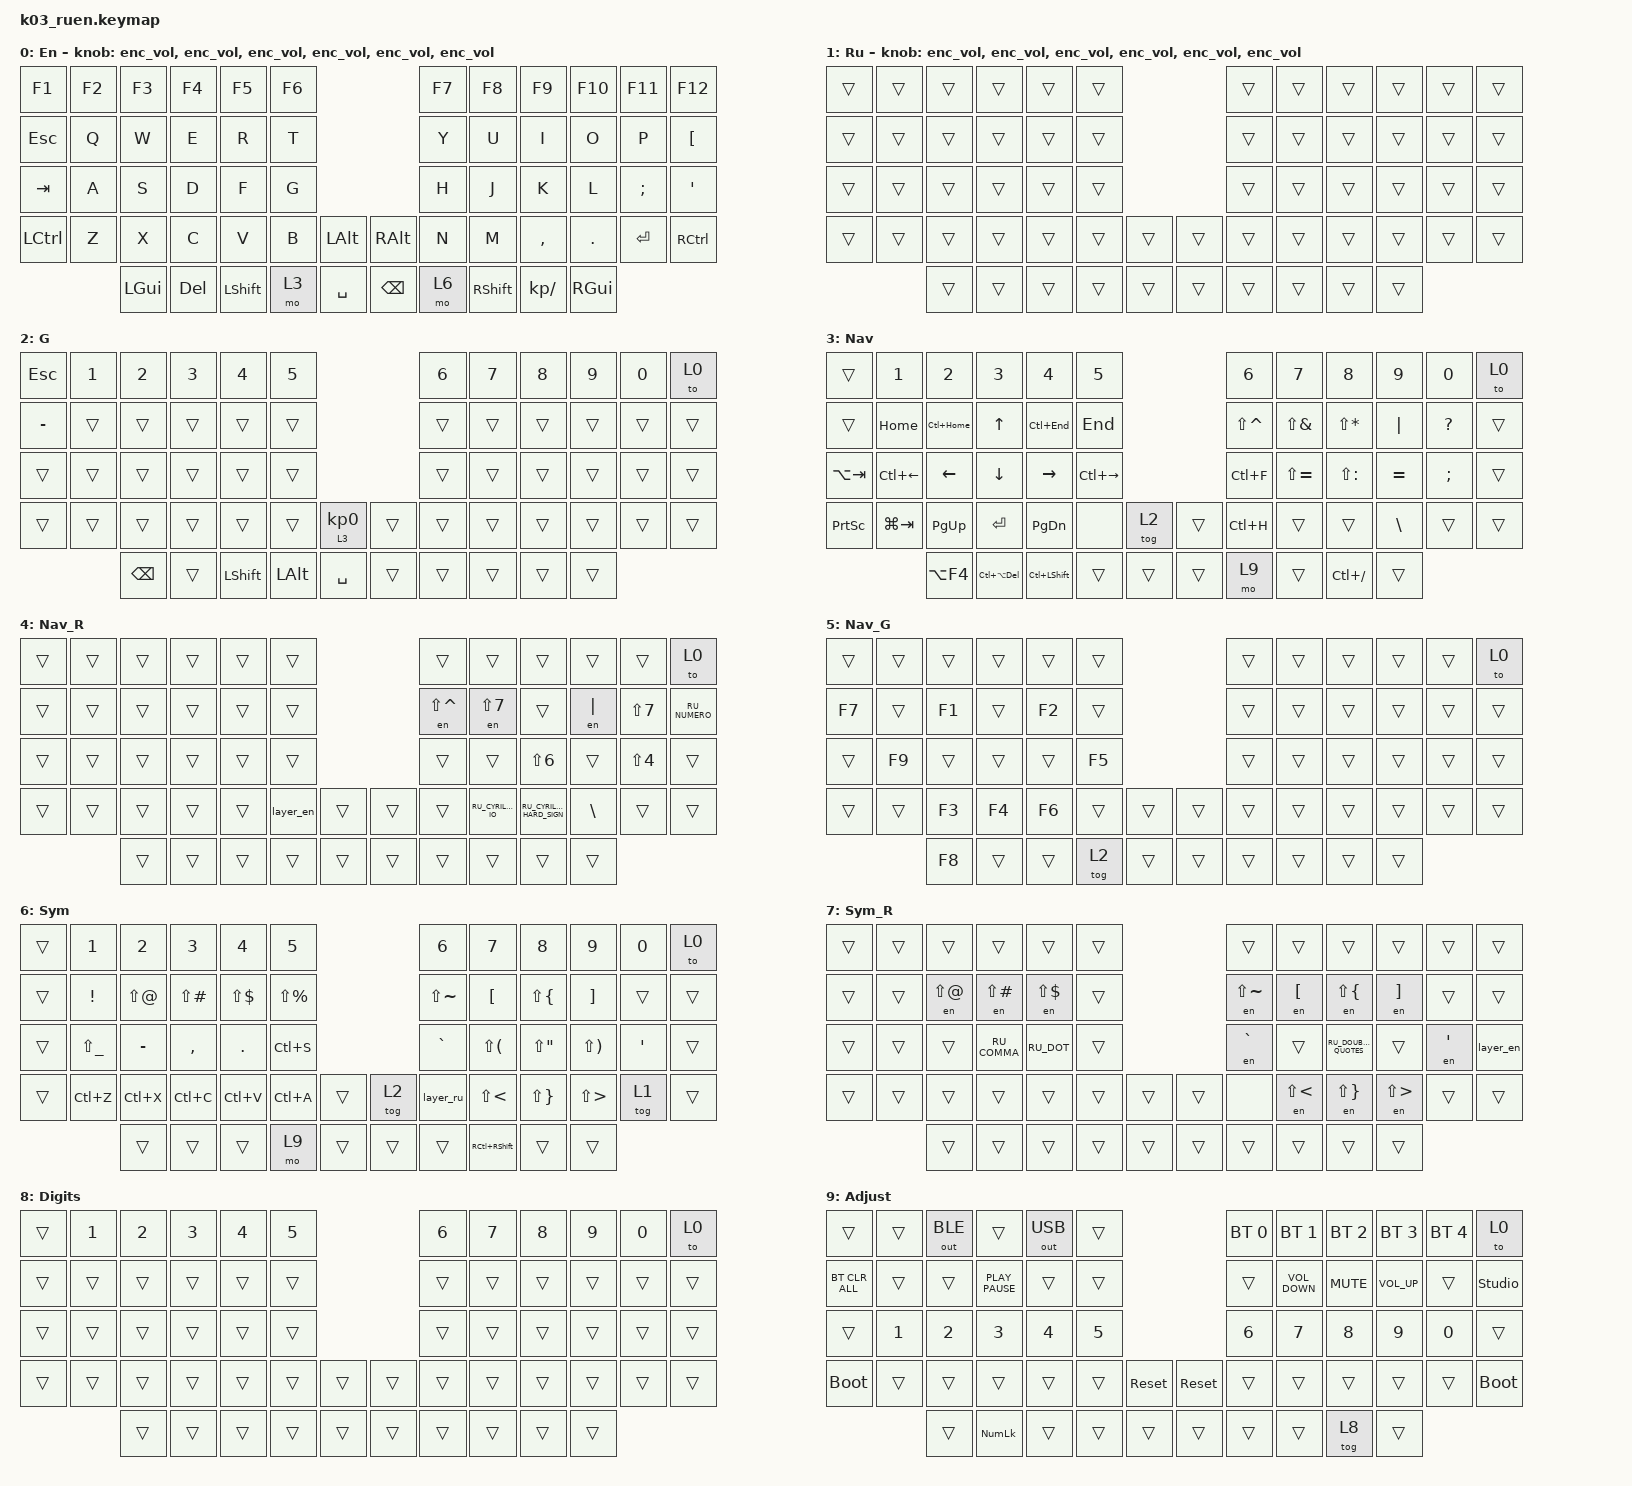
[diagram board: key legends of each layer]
#include "keys_ru.h"
#include <behaviors.dtsi>
#include <dt-bindings/zmk/bt.h>
#include <dt-bindings/zmk/keys.h>
#include <dt-bindings/zmk/outputs.h>

/ {
    behaviors {
        enc_vol: enc_vol {
            compatible = "zmk,behavior-sensor-rotate";
            label = "ENC_VOL";
            #sensor-binding-cells = <0>;
            bindings = <&kp C_VOL_UP>, <&kp C_VOL_DN>;
        };
    };

    combos {
        compatible = "zmk,combos";

        cmben {
            bindings = <&layer_en>;
            key-positions = <15 16>;
            layers = <1 0>;
        };

        cmbru {
            bindings = <&layer_ru>;
            key-positions = <19 20>;
            layers = <0 1>;
        };

        Caps {
            bindings = <&caps_word>;
            key-positions = <52 57>;
            layers = <0 1>;
        };

        CtrlShiftLeft {
            bindings = <&kp LC(LEFT_SHIFT)>;
            key-positions = <52 53>;
            layers = <0 1>;
        };

        CtrlShiftRight {
            bindings = <&kp RC(RIGHT_SHIFT)>;
            key-positions = <57 56>;
            layers = <0 1>;
        };
    };

    macros {
        to_ru: to_ru {
            compatible = "zmk,behavior-macro";
            #binding-cells = <0>;
            bindings = <&kp LG(SPACE)>;
            label = "TO_RU";
            wait-ms = <0>;
            tap-ms = <70>;
        };

        to_en: to_en {
            compatible = "zmk,behavior-macro";
            #binding-cells = <0>;
            bindings = <&kp LG(SPACE)>;
            label = "TO_EN";
            wait-ms = <0>;
            tap-ms = <70>;
        };

        layer_en: layer_en {
            compatible = "zmk,behavior-macro";
            #binding-cells = <0>;
            bindings = <&tog 1 &to_en>;
            label = "LAYER_EN";
            wait-ms = <0>;
            tap-ms = <70>;
        };

        layer_ru: layer_ru {
            compatible = "zmk,behavior-macro";
            #binding-cells = <0>;
            bindings = <&tog 1 &to_ru>;
            label = "LAYER_RU";
            tap-ms = <70>;
            wait-ms = <0>;
        };

        en: en {
            compatible = "zmk,behavior-macro-one-param";
            #binding-cells = <1>;
            bindings =
                <&to_en>,
                <&macro_press>,
                <&macro_param_1to1 &kp MACRO_PLACEHOLDER>,
                <&macro_pause_for_release>,
                <&macro_release>,
                <&macro_param_1to1 &kp MACRO_PLACEHOLDER>,
                <&macro_tap>,
                <&to_ru>;

            label = "EN";
            wait-ms = <0>;
            tap-ms = <70>;
        };
    };

    keymap {
        compatible = "zmk,keymap";

        en {
            bindings = <
&kp F1     &kp F2  &kp F3        &kp F4      &kp F5          &kp F6                                 &kp F7  &kp F8           &kp F9        &kp F10        &kp F11    &kp F12
&kp ESC    &kp Q   &kp W         &kp E       &kp R           &kp T                                  &kp Y   &kp U            &kp I         &kp O          &kp P      &kp LEFT_BRACKET
&kp TAB    &kp A   &kp S         &kp D       &kp F           &kp G                                  &kp H   &kp J            &kp K         &kp L          &kp SEMI   &kp SQT
&kp LCTRL  &kp Z   &kp X         &kp C       &kp V           &kp B   &kp LEFT_ALT    &kp RIGHT_ALT  &kp N   &kp M            &kp COMMA     &kp DOT        &kp ENTER  &kp RCTRL
                   &kp LEFT_GUI  &kp DELETE  &kp LEFT_SHIFT  &mo 3   &kp SPACE       &kp BACKSPACE  &mo 6   &kp RIGHT_SHIFT  &kp KP_SLASH  &kp RIGHT_GUI
            >;

            display-name = "En";
            sensor-bindings =
                <&enc_vol>,
                <&enc_vol>,
                <&enc_vol>,
                <&enc_vol>,
                <&enc_vol>,
                <&enc_vol>;
        };

        ru {
            display-name = "Ru";
            bindings = <
&trans  &trans  &trans  &trans  &trans  &trans                    &trans  &trans  &trans  &trans  &trans  &trans
&trans  &trans  &trans  &trans  &trans  &trans                    &trans  &trans  &trans  &trans  &trans  &trans
&trans  &trans  &trans  &trans  &trans  &trans                    &trans  &trans  &trans  &trans  &trans  &trans
&trans  &trans  &trans  &trans  &trans  &trans  &trans    &trans  &trans  &trans  &trans  &trans  &trans  &trans
                &trans  &trans  &trans  &trans  &trans    &trans  &trans  &trans  &trans  &trans
            >;

            sensor-bindings =
                <&enc_vol>,
                <&enc_vol>,
                <&enc_vol>,
                <&enc_vol>,
                <&enc_vol>,
                <&enc_vol>;
        };

        gaming {
            bindings = <
&kp ESC    &kp N1  &kp N2         &kp N3  &kp N4          &kp N5                               &kp N6  &kp N7  &kp N8  &kp N9  &kp N0  &to 0
&kp MINUS  &trans  &trans         &trans  &trans          &trans                               &trans  &trans  &trans  &trans  &trans  &trans
&trans     &trans  &trans         &trans  &trans          &trans                               &trans  &trans  &trans  &trans  &trans  &trans
&trans     &trans  &trans         &trans  &trans          &trans        &lt 3 KP_N0    &trans  &trans  &trans  &trans  &trans  &trans  &trans
                   &kp BACKSPACE  &trans  &kp LEFT_SHIFT  &kp LEFT_ALT  &kp SPACE      &trans  &trans  &trans  &trans  &trans
            >;

            label = "G";
        };

        nav {
            bindings = <
&trans           &kp N1        &kp N2        &kp N3              &kp N4              &kp N5                           &kp N6         &kp N7         &kp N8         &kp N9     &kp N0     &to 0
&trans           &kp HOME      &kp LC(HOME)  &kp UP              &kp LC(END)         &kp END                          &kp LS(CARET)  &kp LS(AMPS)   &kp LS(STAR)   &kp PIPE   &kp QMARK  &trans
&kp LA(TAB)      &kp LC(LEFT)  &kp LEFT      &kp DOWN            &kp RIGHT           &kp LC(RIGHT)                    &kp LC(F)      &kp LS(EQUAL)  &kp LS(COLON)  &kp EQUAL  &kp SEMI   &trans
&kp PRINTSCREEN  &kp LG(TAB)   &kp PG_UP     &kp RET             &kp PG_DN           &none          &tog 2    &trans  &kp LC(H)      &trans         &trans         &kp BSLH   &trans     &trans
                               &kp LA(F4)    &kp LC(LA(DELETE))  &kp LC(LEFT_SHIFT)  &trans         &trans    &trans  &mo 9          &trans         &kp LC(SLASH)  &trans
            >;

            display-name = "Nav";
        };

        nav_ru {
            display-name = "Nav_R";
            bindings = <
&trans  &trans  &trans  &trans  &trans  &trans                       &trans         &trans              &trans                     &trans    &trans            &to 0
&trans  &trans  &trans  &trans  &trans  &trans                       &en LS(CARET)  &en LS(NUMBER_7)    &trans                     &en PIPE  &kp LS(N7)        &kp RU_NUMERO
&trans  &trans  &trans  &trans  &trans  &trans                       &trans         &trans              &kp LS(NUMBER_6)           &trans    &kp LS(NUMBER_4)  &trans
&trans  &trans  &trans  &trans  &trans  &layer_en  &trans    &trans  &trans         &kp RU_CYRILLIC_IO  &kp RU_CYRILLIC_HARD_SIGN  &kp BSLH  &trans            &trans
                &trans  &trans  &trans  &trans     &trans    &trans  &trans         &trans              &trans                     &trans
            >;
        };

        nav_gaming {
            bindings = <
&trans  &trans  &trans  &trans  &trans  &trans                    &trans  &trans  &trans  &trans  &trans  &to 0
&kp F7  &trans  &kp F1  &trans  &kp F2  &trans                    &trans  &trans  &trans  &trans  &trans  &trans
&trans  &kp F9  &trans  &trans  &trans  &kp F5                    &trans  &trans  &trans  &trans  &trans  &trans
&trans  &trans  &kp F3  &kp F4  &kp F6  &trans  &trans    &trans  &trans  &trans  &trans  &trans  &trans  &trans
                &kp F8  &trans  &trans  &tog 2  &trans    &trans  &trans  &trans  &trans  &trans
            >;

            label = "Nav_G";
        };

        sym {
            bindings = <
&trans  &kp N1         &kp N2      &kp N3         &kp N4        &kp N5                           &kp N6         &kp N7               &kp N8        &kp N9        &kp N0   &to 0
&trans  &kp EXCL       &kp LS(AT)  &kp LS(POUND)  &kp LS(DLLR)  &kp LS(PRCNT)                    &kp LS(TILDE)  &kp LBKT             &kp LS(LBRC)  &kp RBKT      &trans   &trans
&trans  &kp LS(UNDER)  &kp MINUS   &kp COMMA      &kp DOT       &kp LC(S)                        &kp GRAVE      &kp LS(LPAR)         &kp LS(DQT)   &kp LS(RPAR)  &kp SQT  &trans
&trans  &kp LC(Z)      &kp LC(X)   &kp LC(C)      &kp LC(V)     &kp LC(A)      &trans    &tog 2  &layer_ru      &kp LS(LT)           &kp LS(RBRC)  &kp LS(GT)    &tog 1   &trans
                       &trans      &trans         &trans        &mo 9          &trans    &trans  &trans         &kp RC(RIGHT_SHIFT)  &trans        &trans
            >;

            display-name = "Sym";
        };

        sym_ru {
            display-name = "Sym_R";
            bindings = <
&trans  &trans  &trans      &trans         &trans        &trans                    &trans         &trans      &trans                &trans      &trans   &trans
&trans  &trans  &en LS(AT)  &en LS(POUND)  &en LS(DLLR)  &trans                    &en LS(TILDE)  &en LBKT    &en LS(LBRC)          &en RBKT    &trans   &trans
&trans  &trans  &trans      &kp RU_COMMA   &kp RU_DOT    &trans                    &en GRAVE      &trans      &kp RU_DOUBLE_QUOTES  &trans      &en SQT  &layer_en
&trans  &trans  &trans      &trans         &trans        &trans  &trans    &trans  &none          &en LS(LT)  &en LS(RBRC)          &en LS(GT)  &trans   &trans
                &trans      &trans         &trans        &trans  &trans    &trans  &trans         &trans      &trans                &trans
            >;
        };

        digits {
            bindings = <
&trans  &kp N1  &kp N2  &kp N3  &kp N4  &kp N5                    &kp N6  &kp N7  &kp N8  &kp N9  &kp N0  &to 0
&trans  &trans  &trans  &trans  &trans  &trans                    &trans  &trans  &trans  &trans  &trans  &trans
&trans  &trans  &trans  &trans  &trans  &trans                    &trans  &trans  &trans  &trans  &trans  &trans
&trans  &trans  &trans  &trans  &trans  &trans  &trans    &trans  &trans  &trans  &trans  &trans  &trans  &trans
                &trans  &trans  &trans  &trans  &trans    &trans  &trans  &trans  &trans  &trans
            >;

            label = "Digits";
        };

        adj {
            bindings = <
&trans          &trans  &out OUT_BLE  &trans            &out OUT_USB  &trans                            &bt BT_SEL 0  &bt BT_SEL 1       &bt BT_SEL 2  &bt BT_SEL 3     &bt BT_SEL 4  &to 0
&bt BT_CLR_ALL  &trans  &trans        &kp K_PLAY_PAUSE  &trans        &trans                            &trans        &kp C_VOLUME_DOWN  &kp K_MUTE    &kp C_VOLUME_UP  &trans        &studio_unlock
&trans          &kp N1  &kp N2        &kp N3            &kp N4        &kp N5                            &kp N6        &kp N7             &kp N8        &kp N9           &kp N0        &trans
&bootloader     &trans  &trans        &trans            &trans        &trans  &sys_reset    &sys_reset  &trans        &trans             &trans        &trans           &trans        &bootloader
                        &trans        &kp KP_NUMLOCK    &trans        &trans  &trans        &trans      &trans        &trans             &tog 8        &trans
            >;

            display-name = "Adjust";
        };
    };

    conditional_layers {
        compatible = "zmk,conditional-layers";

        nav_ru {
            if-layers = <3 1>;
            then-layer = <4>;
        };

        nav_gaming {
            if-layers = <2 3>;
            then-layer = <5>;
        };

        sym_ru {
            if-layers = <6 1>;
            then-layer = <7>;
        };
    };
};
